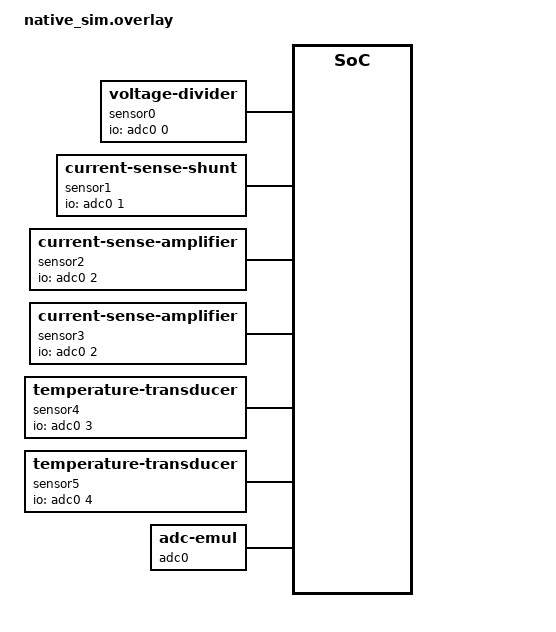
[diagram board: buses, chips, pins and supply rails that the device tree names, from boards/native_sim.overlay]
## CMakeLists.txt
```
# Copyright 2023 The ChromiumOS Authors
# SPDX-License-Identifier: Apache-2.0

cmake_minimum_required(VERSION 3.28.0)

find_package(Zephyr REQUIRED HINTS $ENV{ZEPHYR_BASE})
project(adc_rescale)

FILE(GLOB app_sources src/*.c)
target_sources(app PRIVATE ${app_sources})
```

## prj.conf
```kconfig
CONFIG_ZTEST=y

CONFIG_ADC=y
CONFIG_ADC_LOG_LEVEL_INF=y
CONFIG_HEAP_MEM_POOL_SIZE=1024
CONFIG_TEST_USERSPACE=y
```

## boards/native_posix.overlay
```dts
/*
 * Copyright 2023 The ChromiumOS Authors
 *
 * SPDX-License-Identifier: Apache-2.0
 */

 #include <zephyr/dt-bindings/adc/adc.h>

/ {
	sensor0: vd {
		compatible = "voltage-divider";
		io-channels = <&adc0 0>;
		output-ohms = <50>;
		full-ohms = <100>;
	};

	sensor1: css {
		compatible = "current-sense-shunt";
		io-channels = <&adc0 1>;
		shunt-resistor-micro-ohms = <500000>;
	};

	sensor2: csa {
		compatible = "current-sense-amplifier";
		io-channels = <&adc0 2>;
		sense-resistor-micro-ohms = <5000>;
		sense-gain-mult = <100>;
	};

	adc0: adc {
		compatible = "zephyr,adc-emul";
		nchannels = <3>;
		ref-internal-mv = <3300>;
		ref-external1-mv = <5000>;
		#io-channel-cells = <1>;
		status = "okay";
	};
};

&adc0 {
	#address-cells = <1>;
	#size-cells = <0>;

	channel@0 {
		reg = <0>;
		zephyr,gain = "ADC_GAIN_1";
		zephyr,reference = "ADC_REF_INTERNAL";
		zephyr,vref-mv = <3300>;
		zephyr,acquisition-time = <ADC_ACQ_TIME_DEFAULT>;
		zephyr,resolution = <12>;
	};

	channel@1 {
		reg = <1>;
		zephyr,gain = "ADC_GAIN_1";
		zephyr,reference = "ADC_REF_INTERNAL";
		zephyr,vref-mv = <3300>;
		zephyr,acquisition-time = <ADC_ACQ_TIME_DEFAULT>;
		zephyr,resolution = <12>;
	};

	channel@2 {
		reg = <2>;
		zephyr,gain = "ADC_GAIN_1";
		zephyr,reference = "ADC_REF_INTERNAL";
		zephyr,vref-mv = <3300>;
		zephyr,acquisition-time = <ADC_ACQ_TIME_DEFAULT>;
		zephyr,resolution = <12>;
	};
};
```

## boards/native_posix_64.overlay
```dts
/*
 * Copyright 2023 The ChromiumOS Authors
 *
 * SPDX-License-Identifier: Apache-2.0
 */
#include "native_posix.overlay"
```

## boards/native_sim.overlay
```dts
/*
 * Copyright 2023 The ChromiumOS Authors
 *
 * SPDX-License-Identifier: Apache-2.0
 */

#include <zephyr/dt-bindings/adc/adc.h>

/ {
	sensor0: vd {
		compatible = "voltage-divider";
		io-channels = <&adc0 0>;
		output-ohms = <50>;
		full-ohms = <100>;
	};

	sensor1: css {
		compatible = "current-sense-shunt";
		io-channels = <&adc0 1>;
		shunt-resistor-micro-ohms = <500000>;
	};

	sensor2: csa {
		compatible = "current-sense-amplifier";
		io-channels = <&adc0 2>;
		sense-resistor-milli-ohms = <5>;
		sense-gain-mult = <100>;
	};

	sensor3: tmcs1108A2B {
		compatible = "current-sense-amplifier";
		io-channels = <&adc0 2>;
		sense-resistor-milli-ohms = <1>;
		sense-gain-mult = <100>;
		zero-current-voltage-mv = <1650>;
	};

	sensor4: ad590 {
		compatible = "temperature-transducer";
		io-channels = <&adc0 3>;
		sense-offset-millicelsius = <(-273150)>;
		sense-resistor-ohms = <8060>;
		alpha-ppm-per-celsius = <1>; /* 1 µA/K */
	};

	sensor5: ltc2997 {
		compatible = "temperature-transducer";
		io-channels = <&adc0 4>;
		sense-offset-millicelsius = <(-273150)>;
		sense-resistor-ohms = <1>;
		alpha-ppm-per-celsius = <4000>; /* 4 mV/K */
	};

	adc0: adc {
		compatible = "zephyr,adc-emul";
		nchannels = <5>;
		ref-internal-mv = <3300>;
		ref-external1-mv = <5000>;
		#io-channel-cells = <1>;
		status = "okay";
	};
};

&adc0 {
	#address-cells = <1>;
	#size-cells = <0>;

	channel@0 {
		reg = <0>;
		zephyr,gain = "ADC_GAIN_1";
		zephyr,reference = "ADC_REF_INTERNAL";
		zephyr,vref-mv = <3300>;
		zephyr,acquisition-time = <ADC_ACQ_TIME_DEFAULT>;
		zephyr,resolution = <12>;
	};

	channel@1 {
		reg = <1>;
		zephyr,gain = "ADC_GAIN_1";
		zephyr,reference = "ADC_REF_INTERNAL";
		zephyr,vref-mv = <3300>;
		zephyr,acquisition-time = <ADC_ACQ_TIME_DEFAULT>;
		zephyr,resolution = <12>;
	};

	channel@2 {
		reg = <2>;
		zephyr,gain = "ADC_GAIN_1";
		zephyr,reference = "ADC_REF_INTERNAL";
		zephyr,vref-mv = <3300>;
		zephyr,acquisition-time = <ADC_ACQ_TIME_DEFAULT>;
		zephyr,resolution = <12>;
	};

	channel@3 {
		reg = <3>;
		zephyr,gain = "ADC_GAIN_1";
		zephyr,reference = "ADC_REF_INTERNAL";
		zephyr,vref-mv = <3300>;
		zephyr,acquisition-time = <ADC_ACQ_TIME_DEFAULT>;
		zephyr,resolution = <12>;
	};

	channel@4 {
		reg = <4>;
		zephyr,gain = "ADC_GAIN_1";
		zephyr,reference = "ADC_REF_INTERNAL";
		zephyr,vref-mv = <3300>;
		zephyr,acquisition-time = <ADC_ACQ_TIME_DEFAULT>;
		zephyr,resolution = <12>;
	};
};
```

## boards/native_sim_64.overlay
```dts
/*
 * Copyright 2023 The ChromiumOS Authors
 *
 * SPDX-License-Identifier: Apache-2.0
 */
#include "native_sim.overlay"
```

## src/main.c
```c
/*
 * Copyright (c) 2023 The ChromiumOS Authors
 *
 * SPDX-License-Identifier: Apache-2.0
 */

#include <zephyr/drivers/adc.h>
#include <zephyr/drivers/adc/adc_emul.h>
#include <zephyr/drivers/adc/voltage_divider.h>
#include <zephyr/drivers/adc/current_sense_shunt.h>
#include <zephyr/drivers/adc/current_sense_amplifier.h>
#include <zephyr/kernel.h>
#include <zephyr/ztest.h>

/* Raw to millivolt conversion doesn't handle rounding */
#define MV_OUTPUT_EPS 10

#define ADC_TEST_NODE_0 DT_NODELABEL(sensor0)
#define ADC_TEST_NODE_1 DT_NODELABEL(sensor1)
#define ADC_TEST_NODE_2 DT_NODELABEL(sensor2)
#define ADC_TEST_NODE_3 DT_NODELABEL(sensor3)

/**
 * @brief Get ADC emulated device
 *
 * @return pointer to ADC device
 */
const struct device *get_adc_device(void)
{
	const struct device *const adc_dev = DEVICE_DT_GET(DT_NODELABEL(adc0));

	zassert_true(device_is_ready(adc_dev), "ADC device is not ready");

	return adc_dev;
}

static int init_adc(const struct adc_dt_spec *spec, int input_mv)
{
	int ret;

	zassert_true(adc_is_ready_dt(spec), "ADC device is not ready");

	ret = adc_channel_setup_dt(spec);
	zassert_equal(ret, 0, "Setting up of the first channel failed with code %d", ret);

	/* ADC emulator-specific setup */
	ret = adc_emul_const_value_set(spec->dev, spec->channel_id, input_mv);
	zassert_ok(ret, "adc_emul_const_value_set() failed with code %d", ret);

	return ret;
}

/*
 * test_adc_voltage_divider
 */
static int test_task_voltage_divider(void)
{
	int ret;
	int32_t calculated_voltage = 0;
	int32_t calculated_microvolts;
	int32_t input_mv = 1000;
	const struct voltage_divider_dt_spec adc_node_0 =
		VOLTAGE_DIVIDER_DT_SPEC_GET(ADC_TEST_NODE_0);

	ret = init_adc(&adc_node_0.port, input_mv);
	zassert_equal(ret, 0, "Setting up of the first channel failed with code %d", ret);

	struct adc_sequence sequence = {
		.buffer = &calculated_voltage,
		.buffer_size = sizeof(calculated_voltage),
	};
	adc_sequence_init_dt(&adc_node_0.port, &sequence);

	ret = adc_read_dt(&adc_node_0.port, &sequence);
	zassert_equal(ret, 0, "adc_read() failed with code %d", ret);
	calculated_microvolts = calculated_voltage;

	ret = adc_raw_to_millivolts_dt(&adc_node_0.port, &calculated_voltage);
	zassert_equal(ret, 0, "adc_raw_to_millivolts_dt() failed with code %d", ret);

	ret = adc_raw_to_microvolts_dt(&adc_node_0.port, &calculated_microvolts);
	zassert_equal(ret, 0, "adc_raw_to_microvolts_dt() failed with code %d", ret);
	zassert_equal(calculated_microvolts / 1000, calculated_voltage);

	ret = voltage_divider_scale_dt(&adc_node_0, &calculated_voltage);
	zassert_equal(ret, 0, "divider_scale_voltage_dt() failed with code %d", ret);

	zassert_within(calculated_voltage, input_mv * 2, MV_OUTPUT_EPS,
		       "%u != %u should have set value", calculated_voltage, input_mv * 2);

	/* test case: voltage_divider_scale64_dt */
	const int32_t divider_gain = 2;
	const int32_t expected_output_uv = input_mv * 1000 * divider_gain;
	int64_t output_uv = calculated_microvolts;

	ret = voltage_divider_scale64_dt(&adc_node_0, &output_uv);
	zassert_ok(ret, "voltage_divider_scale64_dt() failed with code %d", ret);
	zassert_within(output_uv, expected_output_uv, divider_gain * 1000,
		       "%lld != %d should have set value", output_uv, expected_output_uv);

	return TC_PASS;
}

ZTEST_USER(adc_rescale, test_adc_voltage_divider)
{
	zassert_true(test_task_voltage_divider() == TC_PASS);
}

/*
 * test_adc_current_sense_shunt
 */
static int test_task_current_sense_shunt(void)
{
	int ret;
	int32_t calculated_current = 0;
	int32_t calculated_microvolts;
	int32_t input_mv = 3000;
	const struct current_sense_shunt_dt_spec adc_node_1 =
		CURRENT_SENSE_SHUNT_DT_SPEC_GET(ADC_TEST_NODE_1);

	ret = init_adc(&adc_node_1.port, input_mv);
	zassert_equal(ret, 0, "Setting up of the second channel failed with code %d", ret);

	struct adc_sequence sequence = {
		.buffer = &calculated_current,
		.buffer_size = sizeof(calculated_current),
	};
	adc_sequence_init_dt(&adc_node_1.port, &sequence);

	ret = adc_read_dt(&adc_node_1.port, &sequence);
	zassert_equal(ret, 0, "adc_read() failed with code %d", ret);
	calculated_microvolts = calculated_current;

	ret = adc_raw_to_millivolts_dt(&adc_node_1.port, &calculated_current);
	zassert_equal(ret, 0, "adc_raw_to_millivolts_dt() failed with code %d", ret);

	ret = adc_raw_to_microvolts_dt(&adc_node_1.port, &calculated_microvolts);
	zassert_equal(ret, 0, "adc_raw_to_microvolts_dt() failed with code %d", ret);
	zassert_equal(calculated_microvolts / 1000, calculated_current);

	current_sense_shunt_scale_dt(&adc_node_1, &calculated_current);

	zassert_within(calculated_current, input_mv * 2, MV_OUTPUT_EPS,
		       "%u != %u should have set value", calculated_current,
		       input_mv * 2);

	return TC_PASS;
}

ZTEST_USER(adc_rescale, test_adc_current_sense_shunt)
{
	zassert_true(test_task_current_sense_shunt() == TC_PASS);
}

/*
 * test_adc_current_sense_amplifier
 */
static int test_task_current_sense_amplifier(void)
{
	int ret;
	int32_t calculated_current = 0;
	int32_t calculated_microvolts;
	int32_t input_mv = 3000;
	const struct current_sense_amplifier_dt_spec adc_node_2 =
		CURRENT_SENSE_AMPLIFIER_DT_SPEC_GET(ADC_TEST_NODE_2);

	ret = init_adc(&adc_node_2.port, input_mv);
	zassert_equal(ret, 0, "Setting up of the third channel failed with code %d", ret);

	struct adc_sequence sequence = {
		.buffer = &calculated_current,
		.buffer_size = sizeof(calculated_current),
	};
	adc_sequence_init_dt(&adc_node_2.port, &sequence);

	ret = adc_read_dt(&adc_node_2.port, &sequence);
	zassert_equal(ret, 0, "adc_read() failed with code %d", ret);
	calculated_microvolts = calculated_current;

	ret = adc_raw_to_millivolts_dt(&adc_node_2.port, &calculated_current);
	zassert_equal(ret, 0, "adc_raw_to_millivolts_dt() failed with code %d", ret);

	ret = adc_raw_to_microvolts_dt(&adc_node_2.port, &calculated_microvolts);
	zassert_equal(ret, 0, "adc_raw_to_microvolts_dt() failed with code %d", ret);
	zassert_equal(calculated_microvolts / 1000, calculated_current);

	current_sense_amplifier_scale_dt(&adc_node_2, &calculated_current);

	zassert_within(calculated_current, input_mv * 2, MV_OUTPUT_EPS,
		       "%u != %u should have set value", calculated_current,
		       input_mv * 2);

	return TC_PASS;
}

ZTEST_USER(adc_rescale, test_adc_current_sense_amplifier)
{
	zassert_true(test_task_current_sense_amplifier() == TC_PASS);
}

ZTEST(adc_rescale, test_adc_current_sense_amplifier_with_offset)
{
	int32_t v_to_i;
	const struct current_sense_amplifier_dt_spec amplifier_spec =
		CURRENT_SENSE_AMPLIFIER_DT_SPEC_GET(ADC_TEST_NODE_3);

	/**
	 * test a voltage that corresponds to 0 mA
	 */
	v_to_i = amplifier_spec.zero_current_voltage_mv;
	current_sense_amplifier_scale_dt(&amplifier_spec, &v_to_i);
	zassert_equal(v_to_i, 0);

	/**
	 * test a voltage that corresponds to 200 mA
	 */
	v_to_i = (200 * amplifier_spec.sense_gain_mult / amplifier_spec.sense_gain_div) / 1000;
	v_to_i = v_to_i + amplifier_spec.zero_current_voltage_mv;
	current_sense_amplifier_scale_dt(&amplifier_spec, &v_to_i);
	zassert_equal(v_to_i, 200);

	/**
	 * test a voltage that corresponds to -1100 mA
	 */
	v_to_i = (-1100 * amplifier_spec.sense_gain_mult / amplifier_spec.sense_gain_div) / 1000;
	v_to_i = v_to_i + amplifier_spec.zero_current_voltage_mv;
	current_sense_amplifier_scale_dt(&amplifier_spec, &v_to_i);
	zassert_equal(v_to_i, -1100);
}

void *adc_rescale_setup(void)
{
	k_object_access_grant(get_adc_device(), k_current_get());

	return NULL;
}

ZTEST_SUITE(adc_rescale, NULL, adc_rescale_setup, NULL, NULL, NULL);
```
